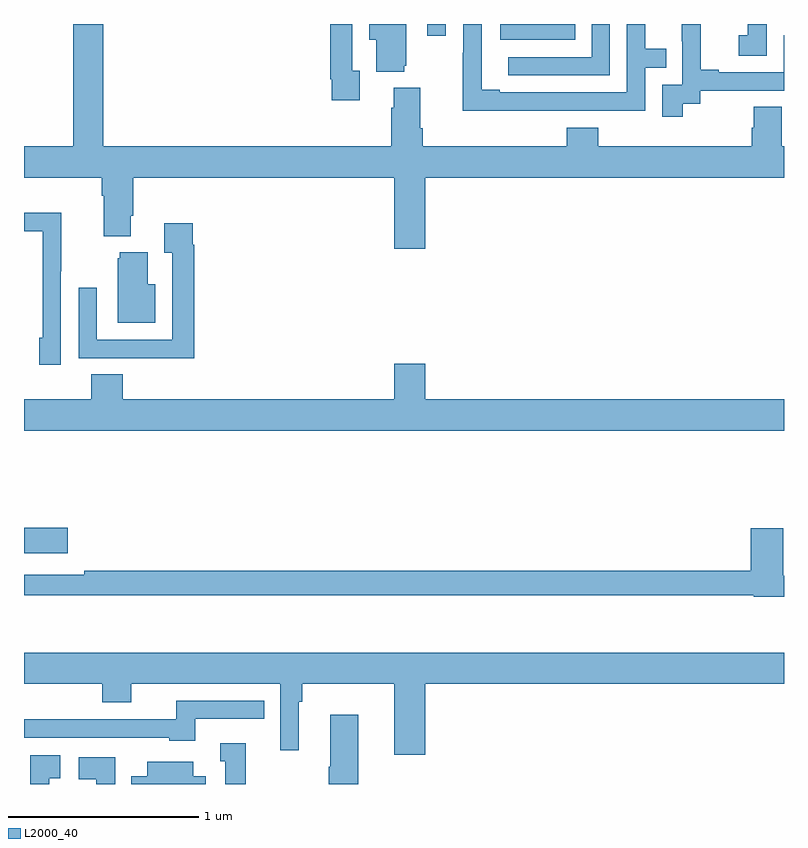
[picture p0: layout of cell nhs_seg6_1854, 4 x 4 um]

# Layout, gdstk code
import gdstk
lib = gdstk.Library(unit=1e-6, precision=1e-09)
def R(c, l, rs):  # rectangles x0, y0, x1, y1
    for r in rs: c.add(gdstk.rectangle(r[:2], r[2:], *l))
def P(c, l, *ps):  # polygons
    for p in ps: c.add(gdstk.Polygon(p, *l))
L2000_40 = (2000, 40)

nhs_seg6_1854 = lib.new_cell('nhs_seg6_1854')
R(nhs_seg6_1854, L2000_40, [(223,922.715,223.231,922.85), (225.506,925.418,225.902,925.5), (225.123,925.437,225.219,925.5)])
P(nhs_seg6_1854, L2000_40, [(225.112,924.692),(227,924.692),(227,924.856),(226.989,924.856),(226.989,925.064),(226.841,925.064),(226.841,924.954),(226.829,924.954),(226.829,924.856),(226.022,924.856),(226.022,924.955),(225.857,924.955),(225.857,924.856),(225.098,924.856),(225.098,924.952),(225.085,924.952),(225.085,925.165),(224.945,925.165),(224.945,925.058),(224.933,925.058),(224.933,924.856),(223.418,924.856),(223.418,925.5),(223.258,925.5),(223.258,924.856),(223,924.856),(223,924.692),(223.409,924.692),(223.409,924.596),(223.421,924.596),(223.421,924.383),(223.561,924.383),(223.561,924.49),(223.574,924.49),(223.574,924.692),(224.948,924.692),(224.948,924.318),(225.112,924.318)],
  [(226.908,925.5),(226.81,925.5),(226.81,925.441),(226.761,925.441),(226.761,925.332),(226.908,925.332)],
  [(225.773,925.044),(226.269,925.044),(226.269,925.269),(226.379,925.269),(226.379,925.37),(226.269,925.37),(226.269,925.5),(226.173,925.5),(226.173,925.14),(225.505,925.14),(225.505,925.153),(225.408,925.153),(225.408,925.5),(225.312,925.5),(225.312,925.349),(225.31,925.349),(225.31,925.043),(225.773,925.043)],
  [(226.083,925.5),(225.987,925.5),(225.987,925.326),(225.549,925.326),(225.549,925.23),(226.083,925.23)],
  [(226.468,925.081),(226.56,925.081),(226.56,925.149),(227,925.149),(227,925.44),(226.998,925.44),(226.998,925.245),(226.657,925.245),(226.657,925.258),(226.562,925.258),(226.562,925.5),(226.463,925.5),(226.463,925.409),(226.464,925.409),(226.464,925.179),(226.359,925.179),(226.359,925.011),(226.468,925.011)],
  [(225.002,925.281),(225.013,925.281),(225.013,925.5),(224.816,925.5),(224.816,925.418),(224.855,925.418),(224.855,925.25),(225.002,925.25)],
  [(224.767,925.254),(224.727,925.254),(224.727,925.5),(224.611,925.5),(224.611,925.21),(224.619,925.21),(224.619,925.098),(224.767,925.098)],
  [(223.194,924.199),(223.197,924.199),(223.197,924.506),(223,924.506),(223,924.408),(223.098,924.408),(223.098,923.85),(223.079,923.85),(223.079,923.706),(223.194,923.706)],
  [(223.895,924.338),(223.888,924.338),(223.888,924.451),(223.739,924.451),(223.739,924.295),(223.779,924.295),(223.779,923.838),(223.383,923.838),(223.383,924.112),(223.287,924.112),(223.287,923.742),(223.603,923.742),(223.603,923.741),(223.895,923.741)],
  [(223.69,924.13),(223.651,924.13),(223.651,924.298),(223.505,924.298),(223.505,924.267),(223.493,924.267),(223.493,923.927),(223.69,923.927)],
  [(227,923.524),(225.112,923.524),(225.112,923.713),(224.948,923.713),(224.948,923.524),(223.52,923.524),(223.52,923.657),(223.355,923.657),(223.355,923.524),(223,923.524),(223,923.36),(227,923.36)],
  [(227,922.597),(226.996,922.597),(226.996,922.846),(226.826,922.846),(226.826,922.622),(223.318,922.622),(223.318,922.602),(223,922.602),(223,922.494),(226.842,922.494),(226.842,922.486),(227,922.486)],
  [(225.112,922.028),(227,922.028),(227,922.192),(223,922.192),(223,922.028),(223.412,922.028),(223.412,921.929),(223.564,921.929),(223.564,922.028),(224.349,922.028),(224.349,921.678),(224.446,921.678),(224.446,921.932),(224.465,921.932),(224.465,922.028),(224.948,922.028),(224.948,921.654),(225.112,921.654)],
  [(223.9,921.843),(224.264,921.843),(224.264,921.939),(223.801,921.939),(223.801,921.84),(223.328,921.84),(223.328,921.842),(223,921.842),(223,921.744),(223.764,921.744),(223.764,921.728),(223.9,921.728)],
  [(224.758,921.865),(224.612,921.865),(224.612,921.59),(224.605,921.59),(224.605,921.5),(224.758,921.5)],
  [(224.167,921.715),(224.033,921.715),(224.033,921.621),(224.058,921.621),(224.058,921.5),(224.167,921.5)],
  [(223.134,921.531),(223.192,921.531),(223.192,921.652),(223.034,921.652),(223.034,921.5),(223.134,921.5)],
  [(223.479,921.642),(223.287,921.642),(223.287,921.526),(223.381,921.526),(223.381,921.5),(223.479,921.5)],
  [(223.957,921.541),(223.891,921.541),(223.891,921.616),(223.649,921.616),(223.649,921.541),(223.564,921.541),(223.564,921.5),(223.957,921.5)])

lib.write_gds('nhs_seg6_1854.gds')
